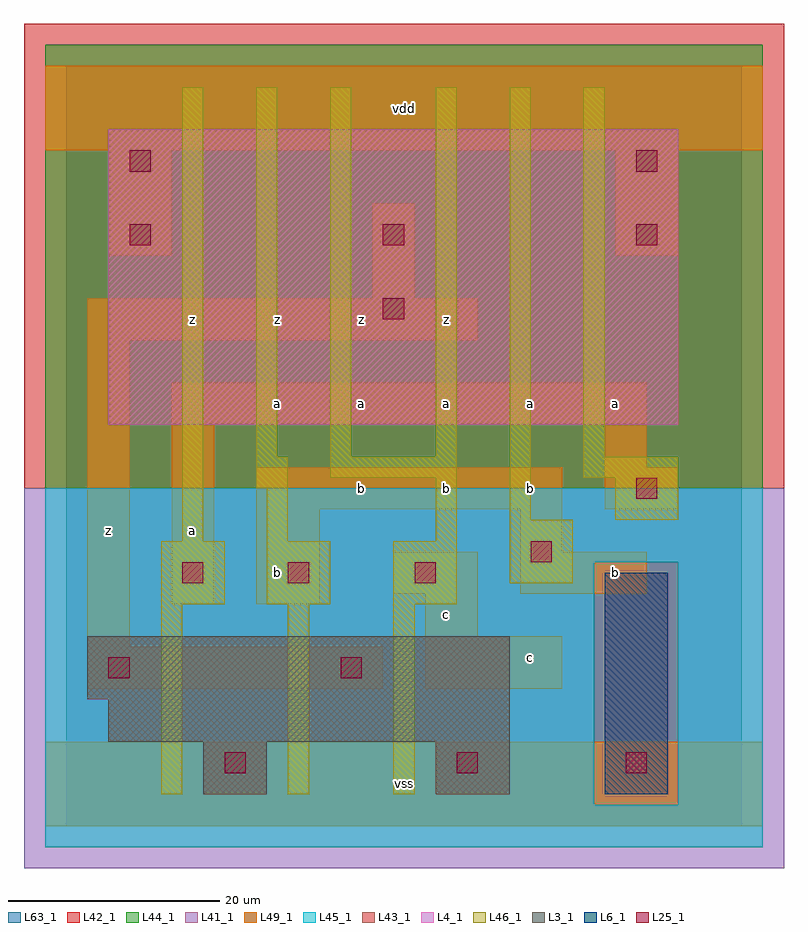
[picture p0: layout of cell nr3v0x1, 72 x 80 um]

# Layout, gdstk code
import gdstk
lib = gdstk.Library(unit=1e-6, precision=1e-09)
def R(c, l, rs):  # rectangles x0, y0, x1, y1
    for r in rs: c.add(gdstk.rectangle(r[:2], r[2:], *l))
def A(c, l, x, y, w, h, nx, ny, dx, dy):  # array of equal rectangles
    R(c, l, [(x+i*dx, y+j*dy, x+i*dx+w, y+j*dy+h) for i in range(nx) for j in range(ny)])
L3_1 = (3, 1)
L4_1 = (4, 1)
L6_1 = (6, 1)
L25_1 = (25, 1)
L41_1 = (41, 1)
L42_1 = (42, 1)
L43_1 = (43, 1)
L44_1 = (44, 1)
L45_1 = (45, 1)
L46_1 = (46, 1)
L49_1 = (49, 1)
L63_1 = (63, 1)

nr3v0x1 = lib.new_cell('nr3v0x1')
R(nr3v0x1, L3_1, [(13,3,19,8), (35,3,42,8), (4,8,42,12), (2,12,42,18)])
R(nr3v0x1, L4_1, [(4,38,58,66)])
R(nr3v0x1, L6_1, [(51,3,57,24), (51,3,57,24)])
A(nr3v0x1, L25_1, 6, 55, 2, 2, 3, 1, 24, 0)
R(nr3v0x1, L25_1, [(15,5,17,7), (37,5,39,7), (53,5,55,7), (4,14,6,16), (26,14,28,16), (11,23,13,25), (21,23,23,25), (33,23,35,25), (44,25,46,27), (54,31,56,33), (30,48,32,50), (6,62,8,64), (54,62,56,64)])
R(nr3v0x1, L41_1, [(-4,-4,68,32)])
R(nr3v0x1, L42_1, [(-4,32,68,76)])
R(nr3v0x1, L43_1, [(13,3,19,8), (35,3,42,8), (51,3,57,24), (4,8,42,12), (2,12,42,18), (4,38,58,66)])
R(nr3v0x1, L44_1, [(50,2,58,25), (-2,32,66,74)])
R(nr3v0x1, L45_1, [(-2,-2,66,2), (-2,2,50,25), (58,2,66,25), (-2,25,66,32)])
R(nr3v0x1, L46_1, [(9,3,11,21), (21,3,23,21), (31,3,33,21), (9,21,15,27), (19,21,25,27), (31,21,37,27), (42,23,48,29), (11,27,13,70), (19,27,21,32), (35,27,37,33), (42,29,44,70), (52,29,58,33), (18,32,21,35), (25,33,37,35), (49,33,58,35), (18,35,20,70), (25,35,27,70), (35,35,37,70), (49,35,51,70)])
R(nr3v0x1, L49_1, [(-2,0,66,8), (2,13,30,17), (34,13,47,18), (2,17,6,46), (34,18,39,22), (10,21,14,38), (18,21,24,30), (31,22,39,26), (43,22,55,26), (43,26,47,30), (18,30,47,34), (51,30,58,34), (51,34,55,38), (10,38,55,42), (2,46,39,50), (29,50,33,59), (4,54,10,64), (52,54,58,64), (-2,64,66,72)])
R(nr3v0x1, L63_1, [(0,0,64,72)])
nr3v0x1.add(gdstk.Label('z', (4,28), layer=49, texttype=1))
nr3v0x1.add(gdstk.Label('b', (20,24), layer=49, texttype=1))
nr3v0x1.add(gdstk.Label('a', (12,28), layer=49, texttype=1))
nr3v0x1.add(gdstk.Label('a', (20,40), layer=49, texttype=1))
nr3v0x1.add(gdstk.Label('z', (12,48), layer=49, texttype=1))
nr3v0x1.add(gdstk.Label('z', (20,48), layer=49, texttype=1))
nr3v0x1.add(gdstk.Label('vss', (32,4), layer=49, texttype=1))
nr3v0x1.add(gdstk.Label('c', (36,20), layer=49, texttype=1))
nr3v0x1.add(gdstk.Label('b', (36,32), layer=49, texttype=1))
nr3v0x1.add(gdstk.Label('b', (28,32), layer=49, texttype=1))
nr3v0x1.add(gdstk.Label('a', (28,40), layer=49, texttype=1))
nr3v0x1.add(gdstk.Label('a', (36,40), layer=49, texttype=1))
nr3v0x1.add(gdstk.Label('z', (28,48), layer=49, texttype=1))
nr3v0x1.add(gdstk.Label('z', (36,48), layer=49, texttype=1))
nr3v0x1.add(gdstk.Label('vdd', (32,68), layer=49, texttype=1))
nr3v0x1.add(gdstk.Label('c', (44,16), layer=49, texttype=1))
nr3v0x1.add(gdstk.Label('b', (44,32), layer=49, texttype=1))
nr3v0x1.add(gdstk.Label('a', (44,40), layer=49, texttype=1))
nr3v0x1.add(gdstk.Label('b', (52,24), layer=49, texttype=1))
nr3v0x1.add(gdstk.Label('a', (52,40), layer=49, texttype=1))

lib.write_gds('nr3v0x1.gds')
